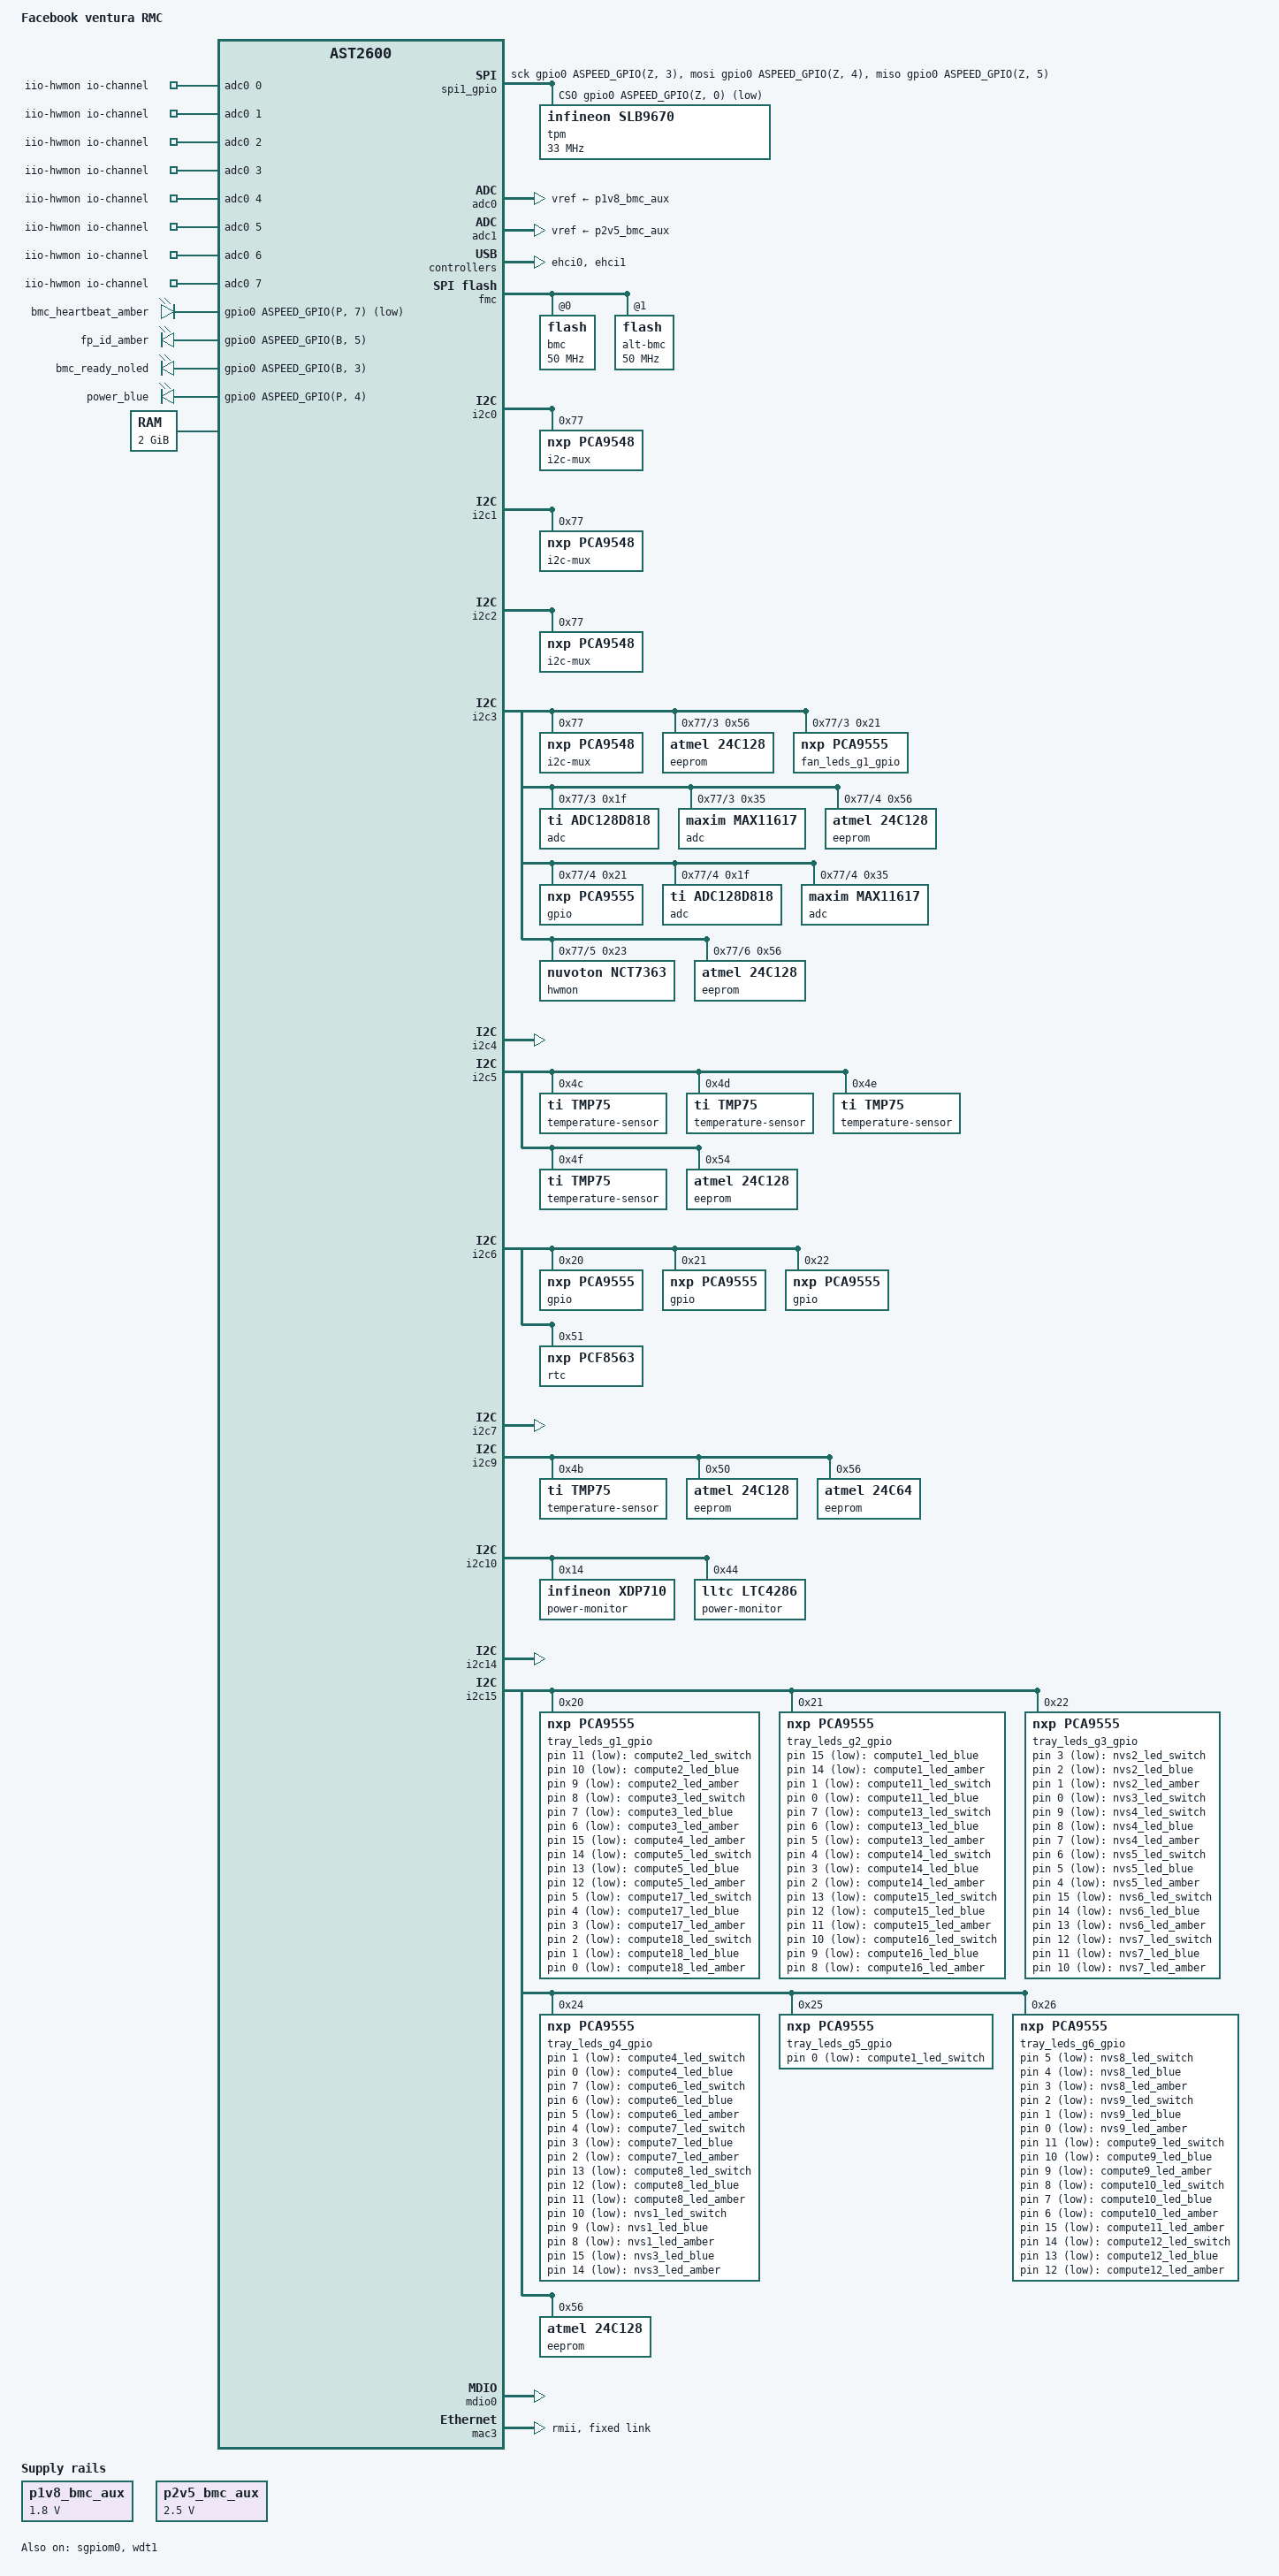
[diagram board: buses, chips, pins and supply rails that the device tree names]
// SPDX-License-Identifier: GPL-2.0+
// Copyright (c) 2023 Facebook Inc.
/dts-v1/;

#include "aspeed-g6.dtsi"
#include <dt-bindings/i2c/i2c.h>
#include <dt-bindings/gpio/aspeed-gpio.h>

/ {
	model = "Facebook ventura RMC";
	compatible = "facebook,ventura-rmc", "aspeed,ast2600";

	aliases {
		serial4 = &uart5;
		i2c16 = &i2c3mux0ch3;
		i2c17 = &i2c3mux0ch4;
		i2c18 = &i2c3mux0ch5;
		i2c19 = &i2c3mux0ch6;
		i2c20 = &i2c3mux0ch0;
		i2c21 = &i2c3mux0ch1;
		i2c22 = &i2c3mux0ch2;
		i2c23 = &i2c3mux0ch7;
		i2c24 = &i2c0mux0ch0;
		i2c25 = &i2c0mux0ch1;
		i2c26 = &i2c0mux0ch2;
		i2c27 = &i2c0mux0ch3;
		i2c28 = &i2c0mux0ch4;
		i2c29 = &i2c0mux0ch5;
		i2c30 = &i2c0mux0ch6;
		i2c31 = &i2c0mux0ch7;
		i2c32 = &i2c1mux0ch0;
		i2c33 = &i2c1mux0ch1;
		i2c34 = &i2c1mux0ch2;
		i2c35 = &i2c1mux0ch3;
		i2c36 = &i2c1mux0ch4;
		i2c37 = &i2c1mux0ch5;
		i2c38 = &i2c1mux0ch6;
		i2c39 = &i2c1mux0ch7;
		i2c40 = &i2c2mux0ch0;
		i2c41 = &i2c2mux0ch1;
		i2c42 = &i2c2mux0ch2;
		i2c43 = &i2c2mux0ch3;
		i2c44 = &i2c2mux0ch4;
		i2c45 = &i2c2mux0ch5;
		i2c46 = &i2c2mux0ch6;
		i2c47 = &i2c2mux0ch7;
	};

	chosen {
		stdout-path = "serial4:57600n8";
	};

	iio-hwmon {
		compatible = "iio-hwmon";
		io-channels = <&adc0 0>, <&adc0 1>, <&adc0 2>, <&adc0 3>,
			      <&adc0 4>, <&adc0 5>, <&adc0 6>, <&adc0 7>,
			      <&adc1 2>;
	};

	leds {
		compatible = "gpio-leds";

		led-0 {
			label = "bmc_heartbeat_amber";
			gpios = <&gpio0 ASPEED_GPIO(P, 7) GPIO_ACTIVE_LOW>;
			linux,default-trigger = "heartbeat";
		};

		led-1 {
			label = "fp_id_amber";
			default-state = "off";
			gpios = <&gpio0 ASPEED_GPIO(B, 5) GPIO_ACTIVE_HIGH>;
		};

		led-2 {
			label = "bmc_ready_noled";
			default-state = "on";
			gpios = <&gpio0 ASPEED_GPIO(B, 3) (GPIO_ACTIVE_HIGH|GPIO_TRANSITORY)>;
		};

		led-3 {
			label = "power_blue";
			default-state = "off";
			gpios = <&gpio0 ASPEED_GPIO(P, 4) GPIO_ACTIVE_HIGH>;
		};

		led-4 {
			label = "compute1_led_switch";
			default-state = "off";
			gpios = <&tray_leds_g5_gpio 0 GPIO_ACTIVE_LOW>;
		};

		led-5 {
			label = "compute1_led_blue";
			default-state = "off";
			gpios = <&tray_leds_g2_gpio 15 GPIO_ACTIVE_LOW>;
		};

		led-6 {
			label = "compute1_led_amber";
			default-state = "off";
			gpios = <&tray_leds_g2_gpio 14 GPIO_ACTIVE_LOW>;
		};

		led-7 {
			label = "compute2_led_switch";
			default-state = "off";
			gpios = <&tray_leds_g1_gpio 11 GPIO_ACTIVE_LOW>;
		};

		led-8 {
			label = "compute2_led_blue";
			default-state = "off";
			gpios = <&tray_leds_g1_gpio 10 GPIO_ACTIVE_LOW>;
		};

		led-9 {
			label = "compute2_led_amber";
			default-state = "off";
			gpios = <&tray_leds_g1_gpio 9 GPIO_ACTIVE_LOW>;
		};

		led-10 {
			label = "compute3_led_switch";
			default-state = "off";
			gpios = <&tray_leds_g1_gpio 8 GPIO_ACTIVE_LOW>;
		};

		led-11 {
			label = "compute3_led_blue";
			default-state = "off";
			gpios = <&tray_leds_g1_gpio 7 GPIO_ACTIVE_LOW>;
		};

		led-12 {
			label = "compute3_led_amber";
			default-state = "off";
			gpios = <&tray_leds_g1_gpio 6 GPIO_ACTIVE_LOW>;
		};

		led-13 {
			label = "compute4_led_switch";
			default-state = "off";
			gpios = <&tray_leds_g4_gpio 1 GPIO_ACTIVE_LOW>;
		};

		led-14 {
			label = "compute4_led_blue";
			default-state = "off";
			gpios = <&tray_leds_g4_gpio 0 GPIO_ACTIVE_LOW>;
		};

		led-15 {
			label = "compute4_led_amber";
			default-state = "off";
			gpios = <&tray_leds_g1_gpio 15 GPIO_ACTIVE_LOW>;
		};

		led-16 {
			label = "compute5_led_switch";
			default-state = "off";
			gpios = <&tray_leds_g1_gpio 14 GPIO_ACTIVE_LOW>;
		};

		led-17 {
			label = "compute5_led_blue";
			default-state = "off";
			gpios = <&tray_leds_g1_gpio 13 GPIO_ACTIVE_LOW>;
		};

		led-18 {
			label = "compute5_led_amber";
			default-state = "off";
			gpios = <&tray_leds_g1_gpio 12 GPIO_ACTIVE_LOW>;
		};

		led-19 {
			label = "compute6_led_switch";
			default-state = "off";
			gpios = <&tray_leds_g4_gpio 7 GPIO_ACTIVE_LOW>;
		};

		led-20 {
			label = "compute6_led_blue";
			default-state = "off";
			gpios = <&tray_leds_g4_gpio 6 GPIO_ACTIVE_LOW>;
		};

		led-21 {
			label = "compute6_led_amber";
			default-state = "off";
			gpios = <&tray_leds_g4_gpio 5 GPIO_ACTIVE_LOW>;
		};

		led-22 {
			label = "compute7_led_switch";
			default-state = "off";
			gpios = <&tray_leds_g4_gpio 4 GPIO_ACTIVE_LOW>;
		};

		led-23 {
			label = "compute7_led_blue";
			default-state = "off";
			gpios = <&tray_leds_g4_gpio 3 GPIO_ACTIVE_LOW>;
		};

		led-24 {
			label = "compute7_led_amber";
			default-state = "off";
			gpios = <&tray_leds_g4_gpio 2 GPIO_ACTIVE_LOW>;
		};

		led-25 {
			label = "compute8_led_switch";
			default-state = "off";
			gpios = <&tray_leds_g4_gpio 13 GPIO_ACTIVE_LOW>;
		};

		led-26 {
			label = "compute8_led_blue";
			default-state = "off";
			gpios = <&tray_leds_g4_gpio 12 GPIO_ACTIVE_LOW>;
		};

		led-27 {
			label = "compute8_led_amber";
			default-state = "off";
			gpios = <&tray_leds_g4_gpio 11 GPIO_ACTIVE_LOW>;
		};

		led-28 {
			label = "nvs1_led_switch";
			default-state = "off";
			gpios = <&tray_leds_g4_gpio 10 GPIO_ACTIVE_LOW>;
		};

		led-29 {
			label = "nvs1_led_blue";
			default-state = "off";
			gpios = <&tray_leds_g4_gpio 9 GPIO_ACTIVE_LOW>;
		};

		led-30 {
			label = "nvs1_led_amber";
			default-state = "off";
			gpios = <&tray_leds_g4_gpio 8 GPIO_ACTIVE_LOW>;
		};

		led-31 {
			label = "nvs2_led_switch";
			default-state = "off";
			gpios = <&tray_leds_g3_gpio 3 GPIO_ACTIVE_LOW>;
		};

		led-32 {
			label = "nvs2_led_blue";
			default-state = "off";
			gpios = <&tray_leds_g3_gpio 2 GPIO_ACTIVE_LOW>;
		};

		led-33 {
			label = "nvs2_led_amber";
			default-state = "off";
			gpios = <&tray_leds_g3_gpio 1 GPIO_ACTIVE_LOW>;
		};

		led-34 {
			label = "nvs3_led_switch";
			default-state = "off";
			gpios = <&tray_leds_g3_gpio 0 GPIO_ACTIVE_LOW>;
		};

		led-35 {
			label = "nvs3_led_blue";
			default-state = "off";
			gpios = <&tray_leds_g4_gpio 15 GPIO_ACTIVE_LOW>;
		};

		led-36 {
			label = "nvs3_led_amber";
			default-state = "off";
			gpios = <&tray_leds_g4_gpio 14 GPIO_ACTIVE_LOW>;
		};

		led-37 {
			label = "nvs4_led_switch";
			default-state = "off";
			gpios = <&tray_leds_g3_gpio 9 GPIO_ACTIVE_LOW>;
		};

		led-38 {
			label = "nvs4_led_blue";
			default-state = "off";
			gpios = <&tray_leds_g3_gpio 8 GPIO_ACTIVE_LOW>;
		};

		led-39 {
			label = "nvs4_led_amber";
			default-state = "off";
			gpios = <&tray_leds_g3_gpio 7 GPIO_ACTIVE_LOW>;
		};

		led-40 {
			label = "nvs5_led_switch";
			default-state = "off";
			gpios = <&tray_leds_g3_gpio 6 GPIO_ACTIVE_LOW>;
		};

		led-41 {
			label = "nvs5_led_blue";
			default-state = "off";
			gpios = <&tray_leds_g3_gpio 5 GPIO_ACTIVE_LOW>;
		};

		led-42 {
			label = "nvs5_led_amber";
			default-state = "off";
			gpios = <&tray_leds_g3_gpio 4 GPIO_ACTIVE_LOW>;
		};

		led-43 {
			label = "nvs6_led_switch";
			default-state = "off";
			gpios = <&tray_leds_g3_gpio 15 GPIO_ACTIVE_LOW>;
		};

		led-44 {
			label = "nvs6_led_blue";
			default-state = "off";
			gpios = <&tray_leds_g3_gpio 14 GPIO_ACTIVE_LOW>;
		};

		led-45 {
			label = "nvs6_led_amber";
			default-state = "off";
			gpios = <&tray_leds_g3_gpio 13 GPIO_ACTIVE_LOW>;
		};

		led-46 {
			label = "nvs7_led_switch";
			default-state = "off";
			gpios = <&tray_leds_g3_gpio 12 GPIO_ACTIVE_LOW>;
		};

		led-47 {
			label = "nvs7_led_blue";
			default-state = "off";
			gpios = <&tray_leds_g3_gpio 11 GPIO_ACTIVE_LOW>;
		};

		led-48 {
			label = "nvs7_led_amber";
			default-state = "off";
			gpios = <&tray_leds_g3_gpio 10 GPIO_ACTIVE_LOW>;
		};

		led-49 {
			label = "nvs8_led_switch";
			default-state = "off";
			gpios = <&tray_leds_g6_gpio 5 GPIO_ACTIVE_LOW>;
		};

		led-50 {
			label = "nvs8_led_blue";
			default-state = "off";
			gpios = <&tray_leds_g6_gpio 4 GPIO_ACTIVE_LOW>;
		};

		led-51 {
			label = "nvs8_led_amber";
			default-state = "off";
			gpios = <&tray_leds_g6_gpio 3 GPIO_ACTIVE_LOW>;
		};

		led-52 {
			label = "nvs9_led_switch";
			default-state = "off";
			gpios = <&tray_leds_g6_gpio 2 GPIO_ACTIVE_LOW>;
		};

		led-53 {
			label = "nvs9_led_blue";
			default-state = "off";
			gpios = <&tray_leds_g6_gpio 1 GPIO_ACTIVE_LOW>;
		};

		led-54 {
			label = "nvs9_led_amber";
			default-state = "off";
			gpios = <&tray_leds_g6_gpio 0 GPIO_ACTIVE_LOW>;
		};

		led-55 {
			label = "compute9_led_switch";
			default-state = "off";
			gpios = <&tray_leds_g6_gpio 11 GPIO_ACTIVE_LOW>;
		};

		led-56 {
			label = "compute9_led_blue";
			default-state = "off";
			gpios = <&tray_leds_g6_gpio 10 GPIO_ACTIVE_LOW>;
		};

		led-57 {
			label = "compute9_led_amber";
			default-state = "off";
			gpios = <&tray_leds_g6_gpio 9 GPIO_ACTIVE_LOW>;
		};

		led-58 {
			label = "compute10_led_switch";
			default-state = "off";
			gpios = <&tray_leds_g6_gpio 8 GPIO_ACTIVE_LOW>;
		};

		led-59 {
			label = "compute10_led_blue";
			default-state = "off";
			gpios = <&tray_leds_g6_gpio 7 GPIO_ACTIVE_LOW>;
		};

		led-60 {
			label = "compute10_led_amber";
			default-state = "off";
			gpios = <&tray_leds_g6_gpio 6 GPIO_ACTIVE_LOW>;
		};

		led-61 {
			label = "compute11_led_switch";
			default-state = "off";
			gpios = <&tray_leds_g2_gpio 1 GPIO_ACTIVE_LOW>;
		};

		led-62 {
			label = "compute11_led_blue";
			default-state = "off";
			gpios = <&tray_leds_g2_gpio 0 GPIO_ACTIVE_LOW>;
		};

		led-63 {
			label = "compute11_led_amber";
			default-state = "off";
			gpios = <&tray_leds_g6_gpio 15 GPIO_ACTIVE_LOW>;
		};

		led-64 {
			label = "compute12_led_switch";
			default-state = "off";
			gpios = <&tray_leds_g6_gpio 14 GPIO_ACTIVE_LOW>;
		};

		led-65 {
			label = "compute12_led_blue";
			default-state = "off";
			gpios = <&tray_leds_g6_gpio 13 GPIO_ACTIVE_LOW>;
		};

		led-66 {
			label = "compute12_led_amber";
			default-state = "off";
			gpios = <&tray_leds_g6_gpio 12 GPIO_ACTIVE_LOW>;
		};

		led-67 {
			label = "compute13_led_switch";
			default-state = "off";
			gpios = <&tray_leds_g2_gpio 7 GPIO_ACTIVE_LOW>;
		};

		led-68 {
			label = "compute13_led_blue";
			default-state = "off";
			gpios = <&tray_leds_g2_gpio 6 GPIO_ACTIVE_LOW>;
		};

		led-69 {
			label = "compute13_led_amber";
			default-state = "off";
			gpios = <&tray_leds_g2_gpio 5 GPIO_ACTIVE_LOW>;
		};

		led-70 {
			label = "compute14_led_switch";
			default-state = "off";
			gpios = <&tray_leds_g2_gpio 4 GPIO_ACTIVE_LOW>;
		};

		led-71 {
			label = "compute14_led_blue";
			default-state = "off";
			gpios = <&tray_leds_g2_gpio 3 GPIO_ACTIVE_LOW>;
		};

		led-72 {
			label = "compute14_led_amber";
			default-state = "off";
			gpios = <&tray_leds_g2_gpio 2 GPIO_ACTIVE_LOW>;
		};

		led-73 {
			label = "compute15_led_switch";
			default-state = "off";
			gpios = <&tray_leds_g2_gpio 13 GPIO_ACTIVE_LOW>;
		};

		led-74 {
			label = "compute15_led_blue";
			default-state = "off";
			gpios = <&tray_leds_g2_gpio 12 GPIO_ACTIVE_LOW>;
		};

		led-75 {
			label = "compute15_led_amber";
			default-state = "off";
			gpios = <&tray_leds_g2_gpio 11 GPIO_ACTIVE_LOW>;
		};

		led-76 {
			label = "compute16_led_switch";
			default-state = "off";
			gpios = <&tray_leds_g2_gpio 10 GPIO_ACTIVE_LOW>;
		};

		led-77 {
			label = "compute16_led_blue";
			default-state = "off";
			gpios = <&tray_leds_g2_gpio 9 GPIO_ACTIVE_LOW>;
		};

		led-78 {
			label = "compute16_led_amber";
			default-state = "off";
			gpios = <&tray_leds_g2_gpio 8 GPIO_ACTIVE_LOW>;
		};

		led-79 {
			label = "compute17_led_switch";
			default-state = "off";
			gpios = <&tray_leds_g1_gpio 5 GPIO_ACTIVE_LOW>;
		};

		led-80 {
			label = "compute17_led_blue";
			default-state = "off";
			gpios = <&tray_leds_g1_gpio 4 GPIO_ACTIVE_LOW>;
		};

		led-81 {
			label = "compute17_led_amber";
			default-state = "off";
			gpios = <&tray_leds_g1_gpio 3 GPIO_ACTIVE_LOW>;
		};

		led-82 {
			label = "compute18_led_switch";
			default-state = "off";
			gpios = <&tray_leds_g1_gpio 2 GPIO_ACTIVE_LOW>;
		};

		led-83 {
			label = "compute18_led_blue";
			default-state = "off";
			gpios = <&tray_leds_g1_gpio 1 GPIO_ACTIVE_LOW>;
		};

		led-84 {
			label = "compute18_led_amber";
			default-state = "off";
			gpios = <&tray_leds_g1_gpio 0 GPIO_ACTIVE_LOW>;
		};
	};

	memory@80000000 {
		device_type = "memory";
		reg = <0x80000000 0x80000000>;
	};

    p1v8_bmc_aux: regulator-p1v8-bmc-aux {
		compatible = "regulator-fixed";
		regulator-name = "p1v8_bmc_aux";
		regulator-min-microvolt = <1800000>;
		regulator-max-microvolt = <1800000>;
		regulator-always-on;
	};

	p2v5_bmc_aux: regulator-p2v5-bmc-aux {
		compatible = "regulator-fixed";
		regulator-name = "p2v5_bmc_aux";
		regulator-min-microvolt = <2500000>;
		regulator-max-microvolt = <2500000>;
		regulator-always-on;
	};

    spi1_gpio: spi {
		compatible = "spi-gpio";
		#address-cells = <1>;
		#size-cells = <0>;

		sck-gpios = <&gpio0 ASPEED_GPIO(Z, 3) GPIO_ACTIVE_HIGH>;
		mosi-gpios = <&gpio0 ASPEED_GPIO(Z, 4) GPIO_ACTIVE_HIGH>;
		miso-gpios = <&gpio0 ASPEED_GPIO(Z, 5) GPIO_ACTIVE_HIGH>;
		cs-gpios = <&gpio0 ASPEED_GPIO(Z, 0) GPIO_ACTIVE_LOW>;
		num-chipselects = <1>;

		tpm@0 {
			compatible = "infineon,slb9670", "tcg,tpm_tis-spi";
			spi-max-frequency = <33000000>;
			reg = <0>;
		};
	};
};

&adc0 {
	vref-supply = <&p1v8_bmc_aux>;
	status = "okay";

	pinctrl-names = "default";
	pinctrl-0 = <&pinctrl_adc0_default &pinctrl_adc1_default
		&pinctrl_adc2_default &pinctrl_adc3_default
		&pinctrl_adc4_default &pinctrl_adc5_default
		&pinctrl_adc6_default &pinctrl_adc7_default>;

};

&adc1 {
	vref-supply = <&p2v5_bmc_aux>;
	status = "okay";

	pinctrl-names = "default";
	pinctrl-0 = <&pinctrl_adc10_default>;
};

&ehci0 {
	status = "okay";
};

&ehci1 {
	status = "okay";
};

&fmc {
	status = "okay";
	flash@0 {
		status = "okay";
		m25p,fast-read;
		label = "bmc";
		spi-max-frequency = <50000000>;
#include "openbmc-flash-layout-128.dtsi"
	};
	flash@1 {
		status = "okay";
		m25p,fast-read;
		label = "alt-bmc";
		spi-max-frequency = <50000000>;
	};
};

&i2c0 {
	status = "okay";

	i2c-mux@77 {
		compatible = "nxp,pca9548";
		reg = <0x77>;
		#address-cells = <1>;
		#size-cells = <0>;

		i2c0mux0ch0: i2c@0 {
			#address-cells = <1>;
			#size-cells = <0>;
			reg = <0>;
			status = "okay";
		};

		i2c0mux0ch1: i2c@1 {
			#address-cells = <1>;
			#size-cells = <0>;
			reg = <1>;
			status = "okay";
		};

		i2c0mux0ch2: i2c@2 {
			#address-cells = <1>;
			#size-cells = <0>;
			reg = <2>;
			status = "okay";
		};

		i2c0mux0ch3: i2c@3 {
			#address-cells = <1>;
			#size-cells = <0>;
			reg = <3>;
			status = "okay";
		};

		i2c0mux0ch4: i2c@4 {
			#address-cells = <1>;
			#size-cells = <0>;
			reg = <4>;
			status = "okay";
		};

		i2c0mux0ch5: i2c@5 {
			#address-cells = <1>;
			#size-cells = <0>;
			reg = <5>;
			status = "okay";
		};

		i2c0mux0ch6: i2c@6 {
			#address-cells = <1>;
			#size-cells = <0>;
			reg = <6>;
			status = "okay";
		};

		i2c0mux0ch7: i2c@7 {
			#address-cells = <1>;
			#size-cells = <0>;
			reg = <7>;
			status = "okay";
		};
	};
};

&i2c1 {
	status = "okay";

	i2c-mux@77 {
		compatible = "nxp,pca9548";
		reg = <0x77>;
		#address-cells = <1>;
		#size-cells = <0>;

		i2c1mux0ch0: i2c@0 {
			#address-cells = <1>;
			#size-cells = <0>;
			reg = <0>;
			status = "okay";
		};

		i2c1mux0ch1: i2c@1 {
			#address-cells = <1>;
			#size-cells = <0>;
			reg = <1>;
			status = "okay";
		};

		i2c1mux0ch2: i2c@2 {
			#address-cells = <1>;
			#size-cells = <0>;
			reg = <2>;
			status = "okay";
		};

		i2c1mux0ch3: i2c@3 {
			#address-cells = <1>;
			#size-cells = <0>;
			reg = <3>;
			status = "okay";
		};

		i2c1mux0ch4: i2c@4 {
			#address-cells = <1>;
			#size-cells = <0>;
			reg = <4>;
			status = "okay";
		};

		i2c1mux0ch5: i2c@5 {
			#address-cells = <1>;
			#size-cells = <0>;
			reg = <5>;
			status = "okay";
		};

		i2c1mux0ch6: i2c@6 {
			#address-cells = <1>;
			#size-cells = <0>;
			reg = <6>;
			status = "okay";
		};

		i2c1mux0ch7: i2c@7 {
			#address-cells = <1>;
			#size-cells = <0>;
			reg = <7>;
			status = "okay";
		};
	};
};

&i2c2 {
	status = "okay";

	i2c-mux@77 {
		compatible = "nxp,pca9548";
		reg = <0x77>;
		#address-cells = <1>;
		#size-cells = <0>;

		i2c2mux0ch0: i2c@0 {
			#address-cells = <1>;
			#size-cells = <0>;
			reg = <0>;
			status = "okay";
		};

		i2c2mux0ch1: i2c@1 {
			#address-cells = <1>;
			#size-cells = <0>;
			reg = <1>;
			status = "okay";
		};

		i2c2mux0ch2: i2c@2 {
			#address-cells = <1>;
			#size-cells = <0>;
			reg = <2>;
			status = "okay";
		};

		i2c2mux0ch3: i2c@3 {
			#address-cells = <1>;
			#size-cells = <0>;
			reg = <3>;
			status = "okay";
		};

		i2c2mux0ch4: i2c@4 {
			#address-cells = <1>;
			#size-cells = <0>;
			reg = <4>;
			status = "okay";
		};

		i2c2mux0ch5: i2c@5 {
			#address-cells = <1>;
			#size-cells = <0>;
			reg = <5>;
			status = "okay";
		};

		i2c2mux0ch6: i2c@6 {
			#address-cells = <1>;
			#size-cells = <0>;
			reg = <6>;
			status = "okay";
		};

		i2c2mux0ch7: i2c@7 {
			#address-cells = <1>;
			#size-cells = <0>;
			reg = <7>;
			status = "okay";
		};
	};
};

&i2c3 {
	status = "okay";

	i2c-mux@77 {
		compatible = "nxp,pca9548";
		reg = <0x77>;
		#address-cells = <1>;
		#size-cells = <0>;

		i2c3mux0ch0: i2c@0 {
			#address-cells = <1>;
			#size-cells = <0>;
			reg = <0>;
			status = "okay";
		};

		i2c3mux0ch1: i2c@1 {
			#address-cells = <1>;
			#size-cells = <0>;
			reg = <1>;
			status = "okay";
		};

		i2c3mux0ch2: i2c@2 {
			#address-cells = <1>;
			#size-cells = <0>;
			reg = <2>;
			status = "okay";
		};

		i2c3mux0ch3: i2c@3 {
			#address-cells = <1>;
			#size-cells = <0>;
			reg = <3>;

			// Fan Board 0 FRU
			eeprom@56 {
				compatible = "atmel,24c128";
				reg = <0x56>;
			};

			fan_leds_g1_gpio: gpio@21 {
				compatible = "nxp,pca9555";
				reg = <0x21>;
				gpio-controller;
				#gpio-cells = <2>;
			};

			adc@1f {
				compatible = "ti,adc128d818";
				reg = <0x1f>;
				ti,mode = /bits/ 8 <1>;
			};

			adc@35 {
				compatible = "maxim,max11617";
				reg = <0x35>;
			};
		};

		i2c3mux0ch4: i2c@4 {
			#address-cells = <1>;
			#size-cells = <0>;
			reg = <4>;

			// Fan Board 1 FRU
			eeprom@56 {
				compatible = "atmel,24c128";
				reg = <0x56>;
			};

			gpio@21 {
				compatible = "nxp,pca9555";
				reg = <0x21>;
				gpio-controller;
				#gpio-cells = <2>;
			};

			adc@1f {
				compatible = "ti,adc128d818";
				reg = <0x1f>;
				ti,mode = /bits/ 8 <1>;
			};

			adc@35 {
				compatible = "maxim,max11617";
				reg = <0x35>;
			};
		};

		i2c3mux0ch5: i2c@5 {
			#address-cells = <1>;
			#size-cells = <0>;
			reg = <5>;

			hwmon: hwmon@23 {
				compatible = "nuvoton,nct7363";
				reg = <0x23>;
				#pwm-cells = <2>;

				//fan 0 IL
				fan-0 {
					pwms = <&hwmon 0 20000>;
					tach-ch = /bits/ 8 <0x09>;
				};

				//fan 0 OL
				fan-1 {
					pwms = <&hwmon 0 20000>;
					tach-ch = /bits/ 8 <0x0B>;
				};

				//fan 1 IL
				fan-2 {
					pwms = <&hwmon 4 20000>;
					tach-ch = /bits/ 8 <0x0A>;
				};

				//fan 1 OL
				fan-3 {
					pwms = <&hwmon 4 20000>;
					tach-ch = /bits/ 8 <0x0D>;
				};

				//fan 2 IL
				fan-4 {
					pwms = <&hwmon 6 20000>;
					tach-ch = /bits/ 8 <0x0F>;
				};

				//fan 2 OL
				fan-5 {
					pwms = <&hwmon 6 20000>;
					tach-ch = /bits/ 8 <0x01>;
				};

				//fan 3 IL
				fan-6 {
					pwms = <&hwmon 10 20000>;
					tach-ch = /bits/ 8 <0x00>;
				};

				//fan 3 OL
				fan-7 {
					pwms = <&hwmon 10 20000>;
					tach-ch = /bits/ 8 <0x03>;
				};
			};
		};

		i2c3mux0ch6: i2c@6 {
			#address-cells = <1>;
			#size-cells = <0>;
			reg = <6>;
			// REAR-IO Board FRU
			eeprom@56 {
				compatible = "atmel,24c128";
				reg = <0x56>;
			};
		};

		i2c3mux0ch7: i2c@7 {
			#address-cells = <1>;
			#size-cells = <0>;
			reg = <7>;
			status = "okay";
		};
	};
};

&i2c4 {
	status = "okay";
};

&i2c5 {
	status = "okay";

    // VR TEMP U399
	temperature-sensor@4c {
		compatible = "ti,tmp75";
		reg = <0x4c>;
	};
    // VR TEMP U397
	temperature-sensor@4d {
		compatible = "ti,tmp75";
		reg = <0x4d>;
	};
    // BRICK TEMP U398
	temperature-sensor@4e {
		compatible = "ti,tmp75";
		reg = <0x4e>;
	};

	temperature-sensor@4f {
		compatible = "ti,tmp75";
		reg = <0x4f>;
	};
    // RMC FRU
	eeprom@54 {
		compatible = "atmel,24c128";
		reg = <0x54>;
	};
};

&i2c6 {
	status = "okay";

	gpio@20 {
		compatible = "nxp,pca9555";
		reg = <0x20>;
		gpio-controller;
		#gpio-cells = <2>;
	};

	gpio@21 {
		compatible = "nxp,pca9555";
		reg = <0x21>;
		gpio-controller;
		#gpio-cells = <2>;
	};

	gpio@22 {
		compatible = "nxp,pca9555";
		reg = <0x22>;
		gpio-controller;
		#gpio-cells = <2>;
	};

	rtc@51 {
		compatible = "nxp,pcf8563";
		reg = <0x51>;
	};
};

&i2c7 {
	status = "okay";
};

&i2c9 {
	status = "okay";

    // SCM TEMP SENSOR
	temperature-sensor@4b {
		compatible = "ti,tmp75";
		reg = <0x4b>;
	};

    // SCM FRU EEPROM
	eeprom@50 {
		compatible = "atmel,24c128";
		reg = <0x50>;
	};

    // BSM FRU EEPROM
	eeprom@56 {
		compatible = "atmel,24c64";
		reg = <0x56>;
	};
};

&i2c10 {
	status = "okay";

	power-monitor@14 {
		compatible = "infineon,xdp710";
		reg = <0x14>;
	};

	power-monitor@44 {
		compatible = "lltc,ltc4286";
		reg = <0x44>;
	};
};

&i2c14 {
	status = "okay";
};

&i2c15 {
	status = "okay";

	tray_leds_g1_gpio: gpio@20 {
		compatible = "nxp,pca9555";
		reg = <0x20>;
		gpio-controller;
		#gpio-cells = <2>;
	};

	tray_leds_g2_gpio: gpio@21 {
		compatible = "nxp,pca9555";
		reg = <0x21>;
		gpio-controller;
		#gpio-cells = <2>;
	};

	tray_leds_g3_gpio: gpio@22 {
		compatible = "nxp,pca9555";
		reg = <0x22>;
		gpio-controller;
		#gpio-cells = <2>;
	};

	tray_leds_g4_gpio: gpio@24 {
		compatible = "nxp,pca9555";
		reg = <0x24>;
		gpio-controller;
		#gpio-cells = <2>;
	};

	tray_leds_g5_gpio: gpio@25 {
		compatible = "nxp,pca9555";
		reg = <0x25>;
		gpio-controller;
		#gpio-cells = <2>;
	};

	tray_leds_g6_gpio: gpio@26 {
		compatible = "nxp,pca9555";
		reg = <0x26>;
		gpio-controller;
		#gpio-cells = <2>;
	};

    // LED Board FRU
	eeprom@56 {
		compatible = "atmel,24c128";
		reg = <0x56>;
	};
};

&mdio0 {
	status = "okay";
};

&mac3 {
	status = "okay";
	phy-mode = "rmii";
	pinctrl-names = "default";
	pinctrl-0 = <&pinctrl_rmii4_default>;
	fixed-link {
		speed = <100>;
		full-duplex;
	};
};

&gpio0 {
	gpio-line-names =
	/*A0-A7*/	"","","","","","","","",
	/*B0-B7*/	"BATTERY_DETECT","","","BMC_READY","","","","",
	/*C0-C7*/	"","","","","","","","",
	/*D0-D7*/	"","","","","","","","",
	/*E0-E7*/	"","","","","","","","",
	/*F0-F7*/	"","","","","","","","",
	/*G0-G7*/	"","","","","","","","",
	/*H0-H7*/	"","","","","","","","",
	/*I0-I7*/	"","","","","","","","",
	/*J0-J7*/	"","","","","","","","",
	/*K0-K7*/	"","","","","","","","",
	/*L0-L7*/	"","","","","","","","",
	/*M0-M7*/	"","","","","","","","",
	/*N0-N7*/	"","","","","","","","",
	/*O0-O7*/	"","","","","","","","USBDBG_IPMI_EN_L",
	/*P0-P7*/	"","","","","","","","",
	/*Q0-Q7*/	"","","","","","FM_MDIO_SW_SEL","","",
	/*R0-R7*/	"","","","","","","","",
	/*S0-S7*/	"","","","","","","","",
	/*T0-T7*/	"","","","","","","","",
	/*U0-U7*/	"","","","","","","","",
	/*V0-V7*/	"","","","","","","","",
	/*W0-W7*/	"","","","","","","","",
	/*X0-X7*/	"","","","","","","","",
	/*Y0-Y7*/	"","","","","","","","",
	/*Z0-Z7*/	"","","","","","","","";
};

&sgpiom0 {
	status = "okay";
	ngpios = <128>;
	bus-frequency = <2000000>;
};

&sgpiom0 {
	gpio-line-names =
    /*"input pin","output pin"*/
	/*A0 - A7*/
	"power-chassis-good","power-chassis-control",
	"host0-ready","WATER_VALVE_CLOSED_N",
	"","FM_MDIO_SW_SEL_PLD",
	"","FM_88E6393X_BIN_UPDATE_EN_N",
	"","",
	"","",
	"","",
	"","",
    /*B0 - B7*/
	"IT_STOP_PUMP_SPARE_2","",
	"IT_STOP_PUMP_2","",
	"IT_STOP_PUMP_SPARE","",
	"IT_STOP_PUMP","",
	"RPU_2_READY_SPARE_PLD_R","",
	"RPU_2_READY_PLD_R","",
	"RPU_READY_SPARE_PLD_R","",
	"RPU_READY_PLD_R","",
    /*C0 - C7*/
	"wAALC_RPU_READY","",
	"LEAK0_DETECT","",
	"LEAK1_DETECT","",
	"LEAK2_DETECT","",
	"PRSNT_COMPUTE_TRAY1_N","",
	"PRSNT_COMPUTE_TRAY2_N","",
	"PRSNT_COMPUTE_TRAY3_N","",
	"PRSNT_COMPUTE_TRAY4_N","",
	/*D0 - D7*/
	"PRSNT_COMPUTE_TRAY5_N","",
	"PRSNT_COMPUTE_TRAY6_N","",
	"PRSNT_COMPUTE_TRAY7_N","",
	"PRSNT_COMPUTE_TRAY8_N","",
	"PRSNT_NVS_TRAY1_N","",
	"PRSNT_NVS_TRAY2_N","",
	"PRSNT_COMPUTE_TRAY11_N","",
	"PRSNT_COMPUTE_TRAY12_N","",
	/*E0 - E7*/
	"PRSNT_COMPUTE_TRAY13_N","",
	"PRSNT_COMPUTE_TRAY14_N","",
	"PRSNT_COMPUTE_TRAY15_N","",
	"PRSNT_COMPUTE_TRAY16_N","",
	"PRSNT_COMPUTE_TRAY17_N","",
	"PRSNT_COMPUTE_TRAY18_N","",
	"PRSNT_NVS_TRAY3_N","",
	"PRSNT_NVS_TRAY4_N","",
	/*F0 - F7*/
	"PRSNT_NVS_TRAY5_N","",
	"PRSNT_NVS_TRAY6_N","",
	"PRSNT_NVS_TRAY7_N","",
	"PRSNT_NVS_TRAY8_N","",
	"PRSNT_NVS_TRAY9_N","",
	"PRSNT_COMPUTE_TRAY9_N","",
	"PRSNT_COMPUTE_TRAY10_N","",
	"SMALL_LEAK_COMPUTE_TRAY1_N","",
	/*G0 - G7*/
	"SMALL_LEAK_COMPUTE_TRAY2_N","",
	"SMALL_LEAK_COMPUTE_TRAY3_N","",
	"SMALL_LEAK_COMPUTE_TRAY4_N","",
	"SMALL_LEAK_COMPUTE_TRAY5_N","",
	"SMALL_LEAK_COMPUTE_TRAY6_N","",
	"SMALL_LEAK_COMPUTE_TRAY7_N","",
	"SMALL_LEAK_COMPUTE_TRAY8_N","",
	"SMALL_LEAK_NVS_TRAY1_N","",
	/*H0 - H7*/
	"SMALL_LEAK_NVS_TRAY2_N","",
	"SMALL_LEAK_COMPUTE_TRAY11_N","",
	"SMALL_LEAK_COMPUTE_TRAY12_N","",
	"SMALL_LEAK_COMPUTE_TRAY13_N","",
	"SMALL_LEAK_COMPUTE_TRAY14_N","",
	"SMALL_LEAK_COMPUTE_TRAY15_N","",
	"SMALL_LEAK_COMPUTE_TRAY16_N","",
	"SMALL_LEAK_COMPUTE_TRAY17_N","",
	/*I0 - I7*/
	"SMALL_LEAK_COMPUTE_TRAY18_N","",
	"SMALL_LEAK_NVS_TRAY3_N","",
	"SMALL_LEAK_NVS_TRAY4_N","",
	"SMALL_LEAK_NVS_TRAY5_N","",
	"SMALL_LEAK_NVS_TRAY6_N","",
	"SMALL_LEAK_NVS_TRAY7_N","",
	"SMALL_LEAK_NVS_TRAY8_N","",
	"SMALL_LEAK_NVS_TRAY9_N","",
	/*J0 - J7*/
	"SMALL_LEAK_COMPUTE_TRAY9_N","",
	"SMALL_LEAK_COMPUTE_TRAY10_N","",
	"PWRGD_COMPUTE_TRAY1_N","",
	"PWRGD_COMPUTE_TRAY2_N","",
	"PWRGD_COMPUTE_TRAY3_N","",
	"PWRGD_COMPUTE_TRAY4_N","",
	"PWRGD_COMPUTE_TRAY5_N","",
	"PWRGD_COMPUTE_TRAY6_N","",
	/*K0 - K7*/
	"PWRGD_COMPUTE_TRAY7_N","",
	"PWRGD_COMPUTE_TRAY8_N","",
	"PWRGD_NVS_TRAY1_PWROK_N","",
	"PWRGD_NVS_TRAY2_PWROK_N","",
	"PWRGD_COMPUTE_TRAY11_N","",
	"PWRGD_COMPUTE_TRAY12_N","",
	"PWRGD_COMPUTE_TRAY13_N","",
	"PWRGD_COMPUTE_TRAY14_N","",
	/*L0 - L7*/
	"PWRGD_COMPUTE_TRAY15_N","",
	"PWRGD_COMPUTE_TRAY16_N","",
	"PWRGD_COMPUTE_TRAY17_N","",
	"PWRGD_COMPUTE_TRAY18_N","",
	"PWRGD_NVS_TRAY3_PWROK_N","",
	"PWRGD_NVS_TRAY4_PWROK_N","",
	"PWRGD_NVS_TRAY5_PWROK_N","",
	"PWRGD_NVS_TRAY6_PWROK_N","",
	/*M0 - M7*/
	"PWRGD_NVS_TRAY7_PWROK_N","",
	"PWRGD_NVS_TRAY8_PWROK_N","",
	"PWRGD_NVS_TRAY9_PWROK_N","",
	"PWRGD_COMPUTE_TRAY9_N","",
	"PWRGD_COMPUTE_TRAY10_N","",
	"LEAK_DETECT_COMPUTE_TRAY1_N","",
	"LEAK_DETECT_COMPUTE_TRAY2_N","",
	"LEAK_DETECT_COMPUTE_TRAY3_N","",
	/*N0 - N7*/
	"LEAK_DETECT_COMPUTE_TRAY4_N","",
	"LEAK_DETECT_COMPUTE_TRAY5_N","",
	"LEAK_DETECT_COMPUTE_TRAY6_N","",
	"LEAK_DETECT_COMPUTE_TRAY7_N","",
	"LEAK_DETECT_COMPUTE_TRAY8_N","",
	"LEAK_DETECT_NVS_TRAY1_N","",
	"LEAK_DETECT_NVS_TRAY2_N","",
	"LEAK_DETECT_COMPUTE_TRAY11_N","",
	/*O0 - O7*/
	"LEAK_DETECT_COMPUTE_TRAY12_N","",
	"LEAK_DETECT_COMPUTE_TRAY13_N","",
	"LEAK_DETECT_COMPUTE_TRAY14_N","",
	"LEAK_DETECT_COMPUTE_TRAY15_N","",
	"LEAK_DETECT_COMPUTE_TRAY16_N","",
	"LEAK_DETECT_COMPUTE_TRAY17_N","",
	"LEAK_DETECT_COMPUTE_TRAY18_N","",
	"LEAK_DETECT_NVS_TRAY3_N","",
	/*P0 - P7*/
	"LEAK_DETECT_NVS_TRAY4_N","",
	"LEAK_DETECT_NVS_TRAY5_N","",
	"LEAK_DETECT_NVS_TRAY6_N","",
	"LEAK_DETECT_NVS_TRAY7_N","",
	"LEAK_DETECT_NVS_TRAY8_N","",
	"LEAK_DETECT_NVS_TRAY9_N","",
	"LEAK_DETECT_COMPUTE_TRAY9_N","",
	"LEAK_DETECT_COMPUTE_TRAY10_N","";
};

&wdt1 {
	status = "okay";
	pinctrl-names = "default";
	pinctrl-0 = <&pinctrl_wdtrst1_default>;
	aspeed,reset-type = "soc";
	aspeed,external-signal;
	aspeed,ext-push-pull;
	aspeed,ext-active-high;
	aspeed,ext-pulse-duration = <256>;
};
